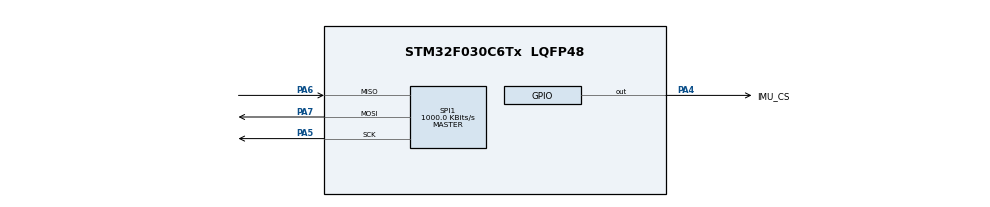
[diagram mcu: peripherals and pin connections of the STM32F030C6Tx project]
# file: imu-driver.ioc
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Mcu.Family=STM32F0
Mcu.Name=STM32F030C6Tx
Mcu.Package=LQFP48
PA13.Mode=Serial_Wire
PA13.Signal=SYS_SWDIO
PA14.Mode=Serial_Wire
PA14.Signal=SYS_SWCLK
PA4.GPIO_Label=IMU_CS
PA4.PinState=GPIO_PIN_SET
PA4.Signal=GPIO_Output
PA5.Mode=Full_Duplex_Master
PA5.Signal=SPI1_SCK
PA6.Mode=Full_Duplex_Master
PA6.Signal=SPI1_MISO
PA7.Mode=Full_Duplex_Master
PA7.Signal=SPI1_MOSI
ProjectManager.HeapSize=0x200
ProjectManager.StackSize=0x400
ProjectManager.TargetToolchain=STM32CubeIDE
SPI1.BaudRatePrescaler=SPI_BAUDRATEPRESCALER_8
SPI1.CLKPhase=SPI_PHASE_2EDGE
SPI1.CLKPolarity=SPI_POLARITY_HIGH
SPI1.CalculateBaudRate=1000.0 KBits/s
SPI1.DataSize=SPI_DATASIZE_8BIT
SPI1.Direction=SPI_DIRECTION_2LINES
SPI1.Mode=SPI_MODE_MASTER
SPI1.VirtualType=VM_MASTER
board=custom

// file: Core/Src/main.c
/* USER CODE BEGIN Header */
/**
  ******************************************************************************
  * @file           : main.c
  * @brief          : Main program body
  ******************************************************************************
  * @attention
  *
  * Copyright (c) 2026 STMicroelectronics.
  * All rights reserved.
  *
  * This software is licensed under terms that can be found in the LICENSE file
  * in the root directory of this software component.
  * If no LICENSE file comes with this software, it is provided AS-IS.
  *
  ******************************************************************************
  */
/* USER CODE END Header */
#include "main.h"

/* USER CODE BEGIN Includes */
#include "imu.h"
#include <stdio.h>
/* USER CODE END Includes */

SPI_HandleTypeDef hspi1;

void SystemClock_Config(void);
static void MX_GPIO_Init(void);
static void MX_SPI1_Init(void);
/* USER CODE BEGIN PFP */
extern void initialise_monitor_handles(void);
/* USER CODE END PFP */

int main(void)
{

  /* USER CODE BEGIN 1 */
  initialise_monitor_handles();
  /* USER CODE END 1 */

  /* MCU Configuration--------------------------------------------------------*/

  /* Reset of all peripherals, Initializes the Flash interface and the Systick. */
  HAL_Init();

  /* Configure the system clock */
  SystemClock_Config();

  /* Initialize all configured peripherals */
  MX_GPIO_Init();
  MX_SPI1_Init();
  /* USER CODE BEGIN 2 */
  uint8_t identity = 0;

  HAL_StatusTypeDef status = imu_read_register(&hspi1, 0x0F, &identity);

  if (status != HAL_OK) {
      Error_Handler();
  }

  status = imu_init(&hspi1);

  if (status != HAL_OK) {
      Error_Handler();
  }

  HAL_Delay(100);

  IMU_RawData measurement = {0};
  IMU_Data converted = {0};

  uint32_t last_read = HAL_GetTick();
  uint32_t last_print = last_read;
  /* USER CODE END 2 */

  /* Infinite loop */
  while (1)
  {

    /* USER CODE BEGIN 3 */
    if ((HAL_GetTick() - last_read) >= 5U) {
      last_read += 5U;

      status = imu_read_data(&hspi1, &measurement);

      if (status != HAL_OK) {
          Error_Handler();
      }

      imu_convert_data(&measurement, &converted);
      if ((HAL_GetTick() - last_print) >= 100U) {
        last_print += 100U;

        printf(
          "Accel [m/s^2]: %.2f, %.2f, %.2f\r\n"
          "Gyro [deg/s]: %.2f, %.2f, %.2f\r\n",
          converted.accel_x,
          converted.accel_y,
          converted.accel_z,
          converted.gyro_x,
          converted.gyro_y,
          converted.gyro_z
        );
      }
    }
  }
  /* USER CODE END 3 */
}

void SystemClock_Config(void)
{
  RCC_OscInitTypeDef RCC_OscInitStruct = {0};
  RCC_ClkInitTypeDef RCC_ClkInitStruct = {0};

  /** Initializes the RCC Oscillators according to the specified parameters
  * in the RCC_OscInitTypeDef structure.
  */
  RCC_OscInitStruct.OscillatorType = RCC_OSCILLATORTYPE_HSI;
  RCC_OscInitStruct.HSIState = RCC_HSI_ON;
  RCC_OscInitStruct.HSICalibrationValue = RCC_HSICALIBRATION_DEFAULT;
  RCC_OscInitStruct.PLL.PLLState = RCC_PLL_NONE;
  if (HAL_RCC_OscConfig(&RCC_OscInitStruct) != HAL_OK)
  {
    Error_Handler();
  }

  /** Initializes the CPU, AHB and APB buses clocks
  */
  RCC_ClkInitStruct.ClockType = RCC_CLOCKTYPE_HCLK|RCC_CLOCKTYPE_SYSCLK
                              |RCC_CLOCKTYPE_PCLK1;
  RCC_ClkInitStruct.SYSCLKSource = RCC_SYSCLKSOURCE_HSI;
  RCC_ClkInitStruct.AHBCLKDivider = RCC_SYSCLK_DIV1;
  RCC_ClkInitStruct.APB1CLKDivider = RCC_HCLK_DIV1;

  if (HAL_RCC_ClockConfig(&RCC_ClkInitStruct, FLASH_LATENCY_0) != HAL_OK)
  {
    Error_Handler();
  }
}

static void MX_SPI1_Init(void)
{

  /* SPI1 parameter configuration*/
  hspi1.Instance = SPI1;
  hspi1.Init.Mode = SPI_MODE_MASTER;
  hspi1.Init.Direction = SPI_DIRECTION_2LINES;
  hspi1.Init.DataSize = SPI_DATASIZE_8BIT;
  hspi1.Init.CLKPolarity = SPI_POLARITY_HIGH;
  hspi1.Init.CLKPhase = SPI_PHASE_2EDGE;
  hspi1.Init.NSS = SPI_NSS_SOFT;
  hspi1.Init.BaudRatePrescaler = SPI_BAUDRATEPRESCALER_8;
  hspi1.Init.FirstBit = SPI_FIRSTBIT_MSB;
  hspi1.Init.TIMode = SPI_TIMODE_DISABLE;
  hspi1.Init.CRCCalculation = SPI_CRCCALCULATION_DISABLE;
  hspi1.Init.CRCPolynomial = 7;
  hspi1.Init.CRCLength = SPI_CRC_LENGTH_DATASIZE;
  hspi1.Init.NSSPMode = SPI_NSS_PULSE_DISABLE;
  if (HAL_SPI_Init(&hspi1) != HAL_OK)
  {
    Error_Handler();
  }

}

static void MX_GPIO_Init(void)
{
  GPIO_InitTypeDef GPIO_InitStruct = {0};

  /* GPIO Ports Clock Enable */
  __HAL_RCC_GPIOA_CLK_ENABLE();

  /*Configure GPIO pin Output Level */
  HAL_GPIO_WritePin(IMU_CS_GPIO_Port, IMU_CS_Pin, GPIO_PIN_SET);

  /*Configure GPIO pin : IMU_CS_Pin */
  GPIO_InitStruct.Pin = IMU_CS_Pin;
  GPIO_InitStruct.Mode = GPIO_MODE_OUTPUT_PP;
  GPIO_InitStruct.Pull = GPIO_NOPULL;
  GPIO_InitStruct.Speed = GPIO_SPEED_FREQ_LOW;
  HAL_GPIO_Init(IMU_CS_GPIO_Port, &GPIO_InitStruct);

}

void Error_Handler(void)
{
  __disable_irq();
  while (1)
  {
  }
}
